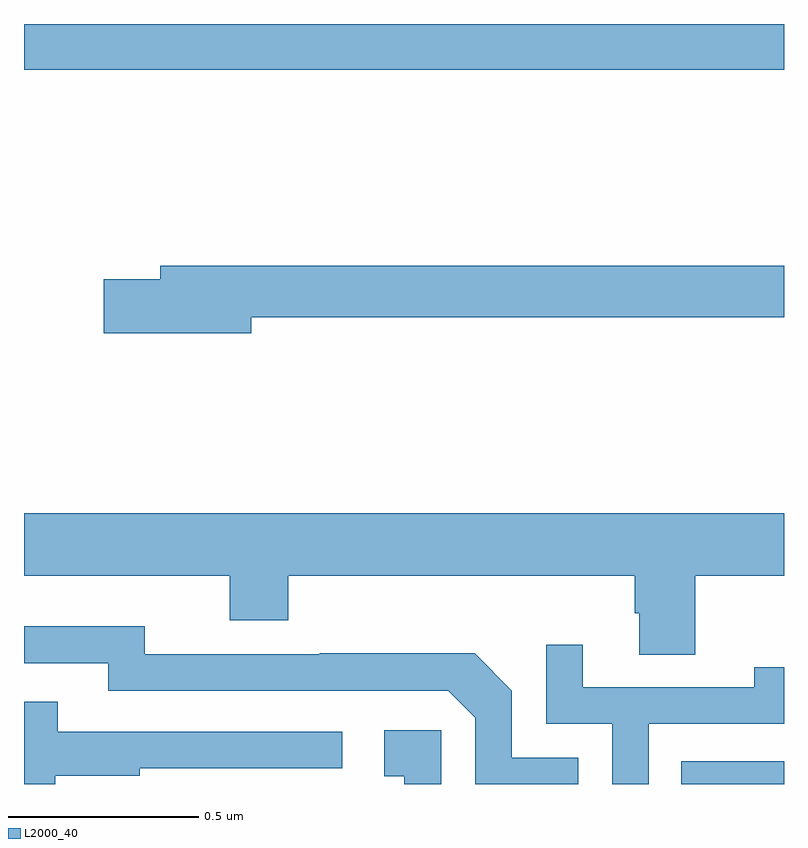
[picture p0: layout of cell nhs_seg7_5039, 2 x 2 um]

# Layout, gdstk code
import gdstk
lib = gdstk.Library(unit=1e-6, precision=1e-09)
def R(c, l, rs):  # rectangles x0, y0, x1, y1
    for r in rs: c.add(gdstk.rectangle(r[:2], r[2:], *l))
def P(c, l, *ps):  # polygons
    for p in ps: c.add(gdstk.Polygon(p, *l))
L2000_40 = (2000, 40)

nhs_seg7_5039 = lib.new_cell('nhs_seg7_5039')
R(nhs_seg7_5039, L2000_40, [(181.729,1068,182,1068.06), (180,1069.88,182,1070)])
P(nhs_seg7_5039, L2000_40, [(180.598,1069.228),(182,1069.228),(182,1069.364),(180.359,1069.364),(180.359,1069.328),(180.21,1069.328),(180.21,1069.186),(180.598,1069.186)],
  [(181.767,1068.548),(182,1068.548),(182,1068.712),(180,1068.712),(180,1068.548),(180.542,1068.548),(180.542,1068.431),(180.695,1068.431),(180.695,1068.548),(181.607,1068.548),(181.607,1068.45),(181.619,1068.45),(181.619,1068.34),(181.767,1068.34)],
  [(181.458,1068.069),(181.284,1068.069),(181.284,1068.246),(181.186,1068.344),(180.778,1068.344),(180.778,1068.342),(180.318,1068.342),(180.318,1068.415),(180,1068.415),(180,1068.318),(180.222,1068.318),(180.222,1068.246),(181.116,1068.246),(181.188,1068.174),(181.188,1068),(181.458,1068)],
  [(181.644,1068.159),(182,1068.159),(182,1068.307),(181.922,1068.307),(181.922,1068.255),(181.471,1068.255),(181.471,1068.367),(181.374,1068.367),(181.374,1068.159),(181.548,1068.159),(181.548,1068),(181.644,1068)],
  [(180.082,1068.022),(180.305,1068.022),(180.305,1068.042),(180.838,1068.042),(180.838,1068.138),(180.089,1068.138),(180.089,1068.217),(180,1068.217),(180,1068),(180.082,1068)],
  [(181.098,1068.142),(180.948,1068.142),(180.948,1068.021),(181.001,1068.021),(181.001,1068),(181.098,1068)])

lib.write_gds('nhs_seg7_5039.gds')
